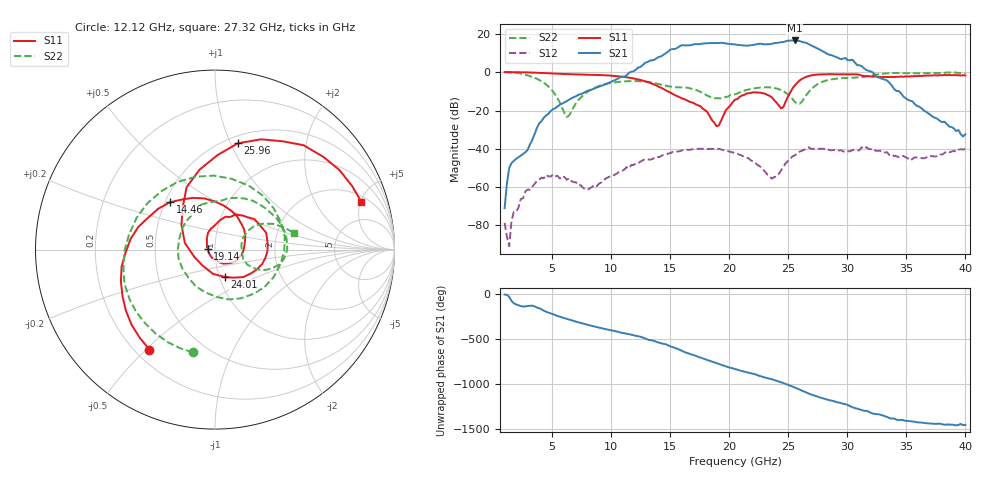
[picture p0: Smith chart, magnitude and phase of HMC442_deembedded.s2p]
!Hittite Microwave Corporation
!12 Elizabeth Drive
!Chelmsford, MA 01824
!Tel: 978-250-3343
!Fax: 978-250-3373
!Device: HMC442, 17.5-25.5 GHz GaAs PHEMT MMIc Medium Power Amplifier
!Misc: Vdd = +5V, Room
# MHZ S MA R 50
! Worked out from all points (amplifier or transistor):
!   201 points, 1 GHz to 40 GHz, reference 50 ohm
!   highest |S21| = 16.6 dB at 25.57 GHz (marker M1)
!   |S21| within 3 dB of that: 15.83 GHz to 27.11 GHz (11.28 GHz wide, 52.5 % of centre)
!   unconditionally stable (mu >= 1): 2.348 GHz to end of sweep
!   at 7.435 GHz: K = 384.41, MAG = -5.1 dB, |S12| = -58.9 dB
!   at 20.5 GHz: K = 10.90, MAG = 15.0 dB, |S12| = -42.2 dB
!   at 40 GHz: K = 78.77, MAG = -18.2 dB, |S12| = -40.0 dB
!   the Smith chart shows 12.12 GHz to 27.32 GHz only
!   S11 on the Smith chart (normalised r, x): 12.12 GHz: 0.26, -0.51; 14.46 GHz: 0.53, +0.32; 19.14 GHz: 0.92, +0.00; 24.01 GHz: 1.06, -0.33; 25.96 GHz: 0.57, +1.07; 27.32 GHz: 2.52, +5.08
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1000  1.005 -40.7  0.0002832 -9.0  0.0001174 -90.8  0.984 -51.2
4315  0.952 -173.5  0.065 172.8  0.001706 95.7  0.53 128.7
7630  0.866 43.7  0.281 30.0  0.0009713 17.5  0.246 72.7
12115  0.666 -123.2  1.168 -106.7  0.004244 18.8  0.586 -102.2
14065  0.413 154.5  2.502 178.2  0.006028 -14.9  0.486 169.8
14455  0.364 133.6  2.847 164.7  0.007023 -20.8  0.456 145.0
15235  0.269 90.7  3.991 128.0  0.008336 -38.6  0.412 90.6
16210  0.198 35.2  5.002 75.1  0.009238 -62.4  0.398 22.3
17770  0.112 -42.4  5.59 4.0  0.01 -101.3  0.288 -74.6
19135  0.041 177.0  5.788 -57.9  0.009944 -139.5  0.207 177.6
20500  0.192 72.3  5.297 -114.1  0.007778 -175.6  0.265 98.1
22450  0.295 4.8  5.474 175.5  0.003725 126.3  0.392 21.8
24010  0.161 -70.6  5.785 115.4  0.001886 2.9  0.376 -10.9
24985  0.232 143.6  6.64 71.2  0.004842 -79.5  0.263 -24.8
25570  0.454 100.9  6.732 40.3  0.006803 -104.9  0.166 -18.8
25960  0.606 77.8  6.523 17.9  0.008437 -126.3  0.149 9.7
27130  0.842 24.8  4.734 -44.6  0.01 -179.0  0.403 18.0
27325  0.858 18.1  4.41 -53.1  0.01 173.2  0.45 11.8
29860  0.879 -58.1  2.339 -144.0  0.008108 105.9  0.705 -81.1
31225  0.814 -110.5  1.435 150.7  0.011 67.5  0.74 -149.1
33565  0.751 154.0  0.533 62.6  0.006915 -16.1  0.937 91.1
40000  0.826 -22.5  0.024 -12.7  0.01 -131.0  0.938 -129.2
